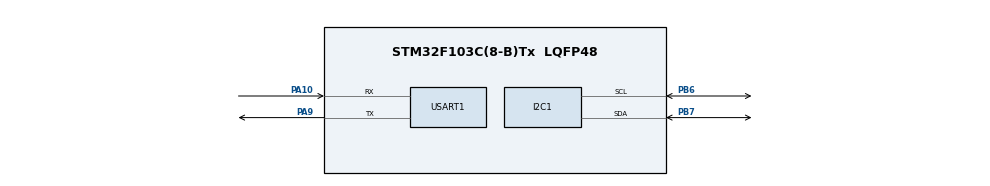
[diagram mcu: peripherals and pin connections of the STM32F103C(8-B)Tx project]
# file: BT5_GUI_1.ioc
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Dma.Request0=USART1_TX
Dma.USART1_TX.0.Direction=DMA_MEMORY_TO_PERIPH
Dma.USART1_TX.0.Instance=DMA1_Channel4
Dma.USART1_TX.0.MemDataAlignment=DMA_MDATAALIGN_BYTE
Dma.USART1_TX.0.MemInc=DMA_MINC_ENABLE
Dma.USART1_TX.0.Mode=DMA_NORMAL
Dma.USART1_TX.0.PeriphDataAlignment=DMA_PDATAALIGN_BYTE
Dma.USART1_TX.0.PeriphInc=DMA_PINC_DISABLE
Dma.USART1_TX.0.Priority=DMA_PRIORITY_LOW
Mcu.Family=STM32F1
Mcu.Name=STM32F103C(8-B)Tx
Mcu.Package=LQFP48
NVIC.DMA1_Channel4_IRQn=true\:0\:0\:false\:false\:true\:false\:true\:true
NVIC.PriorityGroup=NVIC_PRIORITYGROUP_4
NVIC.USART1_IRQn=true\:0\:0\:false\:false\:true\:false\:true\:true
PA10.Mode=Asynchronous
PA10.Signal=USART1_RX
PA13.Mode=Serial_Wire
PA13.Signal=SYS_JTMS-SWDIO
PA14.Mode=Serial_Wire
PA14.Signal=SYS_JTCK-SWCLK
PA9.Mode=Asynchronous
PA9.Signal=USART1_TX
PB6.Mode=I2C
PB6.Signal=I2C1_SCL
PB7.Mode=I2C
PB7.Signal=I2C1_SDA
PD0-OSC_IN.Mode=HSE-External-Oscillator
PD0-OSC_IN.Signal=RCC_OSC_IN
PD1-OSC_OUT.Mode=HSE-External-Oscillator
PD1-OSC_OUT.Signal=RCC_OSC_OUT
ProjectManager.HeapSize=0x200
ProjectManager.StackSize=0x400
ProjectManager.TargetToolchain=STM32CubeIDE
RCC.APB1Freq_Value=8000000
RCC.APB2Freq_Value=8000000
USART1.VirtualMode=VM_ASYNC
board=custom

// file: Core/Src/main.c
/* USER CODE BEGIN Header */
/**
  ******************************************************************************
  * @file           : main.c
  * @brief          : Main program body
  ******************************************************************************
  * @attention
  *
  * Copyright (c) 2026 STMicroelectronics.
  * All rights reserved.
  *
  * This software is licensed under terms that can be found in the LICENSE file
  * in the root directory of this software component.
  * If no LICENSE file comes with this software, it is provided AS-IS.
  *
  ******************************************************************************
  */
/* USER CODE END Header */
#include "main.h"

/* USER CODE BEGIN Includes */
#include "stm32f1xx_hal.h"
#include "stdio.h"
/* USER CODE END Includes */

I2C_HandleTypeDef hi2c1;

UART_HandleTypeDef huart1;
DMA_HandleTypeDef hdma_usart1_tx;

/* USER CODE BEGIN PV */
uint16_t total_byte = 2600, byte_read=0, current_addr=0, data_size=0;
uint8_t temp_buffer[64];
/* USER CODE END PV */

void SystemClock_Config(void);
static void MX_GPIO_Init(void);
static void MX_DMA_Init(void);
static void MX_I2C1_Init(void);
static void MX_USART1_UART_Init(void);

int main(void)
{

  /* MCU Configuration--------------------------------------------------------*/

  /* Reset of all peripherals, Initializes the Flash interface and the Systick. */
  HAL_Init();

  /* Configure the system clock */
  SystemClock_Config();

  /* Initialize all configured peripherals */
  MX_GPIO_Init();
  MX_DMA_Init();
  MX_I2C1_Init();
  MX_USART1_UART_Init();
  /* USER CODE BEGIN 2 */
  while (byte_read < total_byte) {

	  //Kiem tra con tro du lieu dang o dau trong EEPROM
	  uint16_t offset = current_addr % 64;
	  uint16_t space_left = 64-offset;

	  //Quyet dinh size doc
	  uint16_t byte_left = total_byte-byte_read;
		if (byte_left < space_left) {
			  data_size = byte_left;
		}
		else {
			  data_size = space_left;
		}

	  //Doc du lieu
	  HAL_I2C_Mem_Read(&hi2c1, 0XA0, current_addr, I2C_MEMADD_SIZE_16BIT , temp_buffer ,data_size, HAL_MAX_DELAY);

	  //Gui du lieu qua UART
	  HAL_UART_Transmit_DMA(&huart1, temp_buffer, data_size);
	  while (huart1.gState != HAL_UART_STATE_READY) {
	            // Đợi ở đây cho đến khi DMA đẩy xong hết data vào UART
	  }

	  //Cap nhat bien trang thai
	  current_addr += data_size;
	  byte_read += data_size;
  }

  /* USER CODE END 2 */

  /* Infinite loop */
  while (1)
  {

  }
}

void SystemClock_Config(void)
{
  RCC_OscInitTypeDef RCC_OscInitStruct = {0};
  RCC_ClkInitTypeDef RCC_ClkInitStruct = {0};

  /** Initializes the RCC Oscillators according to the specified parameters
  * in the RCC_OscInitTypeDef structure.
  */
  RCC_OscInitStruct.OscillatorType = RCC_OSCILLATORTYPE_HSI;
  RCC_OscInitStruct.HSIState = RCC_HSI_ON;
  RCC_OscInitStruct.HSICalibrationValue = RCC_HSICALIBRATION_DEFAULT;
  RCC_OscInitStruct.PLL.PLLState = RCC_PLL_NONE;
  if (HAL_RCC_OscConfig(&RCC_OscInitStruct) != HAL_OK)
  {
    Error_Handler();
  }

  /** Initializes the CPU, AHB and APB buses clocks
  */
  RCC_ClkInitStruct.ClockType = RCC_CLOCKTYPE_HCLK|RCC_CLOCKTYPE_SYSCLK
                              |RCC_CLOCKTYPE_PCLK1|RCC_CLOCKTYPE_PCLK2;
  RCC_ClkInitStruct.SYSCLKSource = RCC_SYSCLKSOURCE_HSI;
  RCC_ClkInitStruct.AHBCLKDivider = RCC_SYSCLK_DIV1;
  RCC_ClkInitStruct.APB1CLKDivider = RCC_HCLK_DIV1;
  RCC_ClkInitStruct.APB2CLKDivider = RCC_HCLK_DIV1;

  if (HAL_RCC_ClockConfig(&RCC_ClkInitStruct, FLASH_LATENCY_0) != HAL_OK)
  {
    Error_Handler();
  }
}

static void MX_I2C1_Init(void)
{

  hi2c1.Instance = I2C1;
  hi2c1.Init.ClockSpeed = 100000;
  hi2c1.Init.DutyCycle = I2C_DUTYCYCLE_2;
  hi2c1.Init.OwnAddress1 = 0;
  hi2c1.Init.AddressingMode = I2C_ADDRESSINGMODE_7BIT;
  hi2c1.Init.DualAddressMode = I2C_DUALADDRESS_DISABLE;
  hi2c1.Init.OwnAddress2 = 0;
  hi2c1.Init.GeneralCallMode = I2C_GENERALCALL_DISABLE;
  hi2c1.Init.NoStretchMode = I2C_NOSTRETCH_DISABLE;
  if (HAL_I2C_Init(&hi2c1) != HAL_OK)
  {
    Error_Handler();
  }

}

static void MX_USART1_UART_Init(void)
{

  huart1.Instance = USART1;
  huart1.Init.BaudRate = 115200;
  huart1.Init.WordLength = UART_WORDLENGTH_8B;
  huart1.Init.StopBits = UART_STOPBITS_1;
  huart1.Init.Parity = UART_PARITY_NONE;
  huart1.Init.Mode = UART_MODE_TX_RX;
  huart1.Init.HwFlowCtl = UART_HWCONTROL_NONE;
  huart1.Init.OverSampling = UART_OVERSAMPLING_16;
  if (HAL_UART_Init(&huart1) != HAL_OK)
  {
    Error_Handler();
  }

}

static void MX_DMA_Init(void)
{

  /* DMA controller clock enable */
  __HAL_RCC_DMA1_CLK_ENABLE();

  /* DMA interrupt init */
  /* DMA1_Channel4_IRQn interrupt configuration */
  HAL_NVIC_SetPriority(DMA1_Channel4_IRQn, 0, 0);
  HAL_NVIC_EnableIRQ(DMA1_Channel4_IRQn);

}

static void MX_GPIO_Init(void)
{

  /* GPIO Ports Clock Enable */
  __HAL_RCC_GPIOD_CLK_ENABLE();
  __HAL_RCC_GPIOA_CLK_ENABLE();
  __HAL_RCC_GPIOB_CLK_ENABLE();

}

void Error_Handler(void)
{
  __disable_irq();
  while (1)
  {
  }
}
